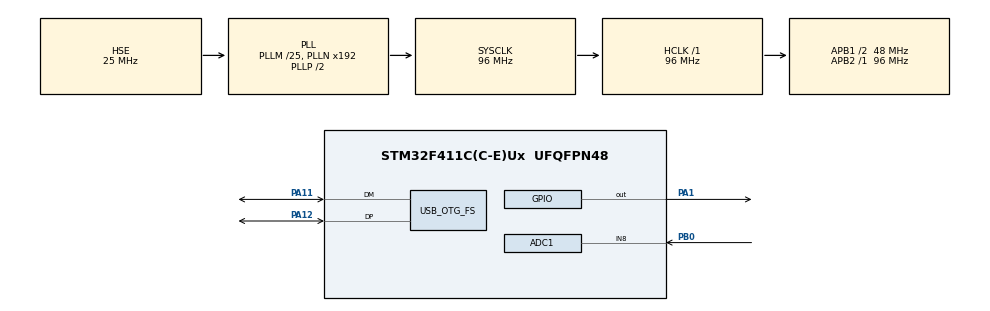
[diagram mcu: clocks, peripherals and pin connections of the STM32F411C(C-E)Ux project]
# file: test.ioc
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ADC1.Channel-3\#ChannelRegularConversion=ADC_CHANNEL_8
ADC1.NbrOfConversionFlag=1
ADC1.Rank-3\#ChannelRegularConversion=1
ADC1.SamplingTime-3\#ChannelRegularConversion=ADC_SAMPLETIME_3CYCLES
ADC1.master=1
Mcu.Family=STM32F4
Mcu.Name=STM32F411C(C-E)Ux
Mcu.Package=UFQFPN48
NVIC.OTG_FS_IRQn=true\:0\:0\:false\:false\:true\:false\:true\:true
NVIC.PriorityGroup=NVIC_PRIORITYGROUP_4
PA1.Signal=GPIO_Output
PA11.Mode=Device_Only
PA11.Signal=USB_OTG_FS_DM
PA12.Mode=Device_Only
PA12.Signal=USB_OTG_FS_DP
PA13.Mode=Serial_Wire
PA13.Signal=SYS_JTMS-SWDIO
PA14.Mode=Serial_Wire
PA14.Signal=SYS_JTCK-SWCLK
PB0.Signal=ADCx_IN8
PC14-OSC32_IN.Mode=LSE-External-Oscillator
PC14-OSC32_IN.Signal=RCC_OSC32_IN
PC15-OSC32_OUT.Mode=LSE-External-Oscillator
PC15-OSC32_OUT.Signal=RCC_OSC32_OUT
PH0\ -\ OSC_IN.Mode=HSE-External-Oscillator
PH0\ -\ OSC_IN.Signal=RCC_OSC_IN
PH1\ -\ OSC_OUT.Mode=HSE-External-Oscillator
PH1\ -\ OSC_OUT.Signal=RCC_OSC_OUT
ProjectManager.HeapSize=0x200
ProjectManager.StackSize=0x400
ProjectManager.TargetToolchain=STM32CubeIDE
RCC.48MHZClocksFreq_Value=48000000
RCC.AHBFreq_Value=96000000
RCC.APB1CLKDivider=RCC_HCLK_DIV2
RCC.APB1Freq_Value=48000000
RCC.APB1TimFreq_Value=96000000
RCC.APB2Freq_Value=96000000
RCC.APB2TimFreq_Value=96000000
RCC.CortexFreq_Value=96000000
RCC.HCLKFreq_Value=96000000
RCC.HSE_VALUE=25000000
RCC.HSI_VALUE=16000000
RCC.PLLM=25
RCC.SYSCLKFreq_VALUE=96000000
RCC.SYSCLKSource=RCC_SYSCLKSOURCE_PLLCLK
RCC.VCOOutputFreq_Value=192000000
SH.ADCx_IN8.0=ADC1_IN8,IN8
USB_DEVICE.CLASS_NAME_FS=CDC
USB_DEVICE.VirtualMode=Cdc
USB_DEVICE.VirtualModeFS=Cdc_FS
USB_OTG_FS.VirtualMode=Device_Only
VP_USB_DEVICE_VS_USB_DEVICE_CDC_FS.Mode=CDC_FS
board=custom

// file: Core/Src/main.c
/* USER CODE BEGIN Header */
/**
  ******************************************************************************
  * @file           : main.c
  * @brief          : Main program body
  ******************************************************************************
  */
/* USER CODE END Header */
#include "main.h"
#include "usb_device.h"
#include "stm32f4xx_hal_adc.h"
/* USER CODE BEGIN Includes */
#include "usbd_cdc_if.h"   // ← fixes CDC_Transmit_FS error
#include <string.h>         // ← for strlen
#include <stdio.h>

/* USER CODE END Includes */

ADC_HandleTypeDef hadc1;

void SystemClock_Config(void);
static void MX_GPIO_Init(void);
static void MX_ADC1_Init(void);

/* USER CODE BEGIN 0 */
/**
 * @brief  Microsecond delay function using the DWT cycle counter
 * @param  microseconds: Delay in microseconds
 */
void DWT_Delay_us(volatile uint32_t microseconds)
{
  uint32_t clk_cycle_start = DWT->CYCCNT;
  // Calculate total number of cycles required for the delay
  microseconds *= (HAL_RCC_GetHCLKFreq() / 1000000);
  // Wait until the cycles have passed
  while ((DWT->CYCCNT - clk_cycle_start) < microseconds);
}
/* USER CODE END 0 */

int main(void)
{

  /* MCU Configuration--------------------------------------------------------*/

  /* Reset of all peripherals, Initializes the Flash interface and the Systick. */
  HAL_Init();

  /* Configure the system clock */
  SystemClock_Config();

  /* Initialize all configured peripherals */
  MX_GPIO_Init();
  MX_USB_DEVICE_Init();
  MX_ADC1_Init();
  /* USER CODE BEGIN 2 */
  	CoreDebug->DEMCR |= CoreDebug_DEMCR_TRCENA_Msk;
    DWT->CYCCNT = 0;
    DWT->CTRL |= DWT_CTRL_CYCCNTENA_Msk;
  /* USER CODE END 2 */

  /* Infinite loop */
  /* USER CODE BEGIN WHILE */
  /* Infinite loop */
    /* USER CODE BEGIN WHILE */
    while (1)
    {
      /* USER CODE END WHILE */
      /* USER CODE BEGIN 3 */

      // 1. Turn IR TX ON
      HAL_GPIO_WritePin(GPIOA, GPIO_PIN_1, GPIO_PIN_SET);

      // 2. Wait 10µs to let the IR LED and photodiode settle
      DWT_Delay_us(10);

      // 3. Trigger and read the ADC while the IR is still ON
      HAL_ADC_Start(&hadc1);
      HAL_ADC_PollForConversion(&hadc1, 10);
      uint32_t adcValue = HAL_ADC_GetValue(&hadc1);
      HAL_ADC_Stop(&hadc1);

      // 4. Wait roughly the remaining 10µs to complete the 20µs ON time
      DWT_Delay_us(10);

      // 5. Turn IR TX OFF
      HAL_GPIO_WritePin(GPIOA, GPIO_PIN_1, GPIO_PIN_RESET);

      // 6. Transmit the captured ADC data over USB CDC
      char msg[32];
      snprintf(msg, sizeof(msg), "ADC: %lu\r\n", adcValue);
      CDC_Transmit_FS((uint8_t*)msg, strlen(msg));

      // 7. Wait 20 milliseconds with the IR sensor OFF
      HAL_Delay(20);
    }
      /* USER CODE END 3 */
    }

void SystemClock_Config(void)
{
  RCC_OscInitTypeDef RCC_OscInitStruct = {0};
  RCC_ClkInitTypeDef RCC_ClkInitStruct = {0};

  /** Configure the main internal regulator output voltage
  */
  __HAL_RCC_PWR_CLK_ENABLE();
  __HAL_PWR_VOLTAGESCALING_CONFIG(PWR_REGULATOR_VOLTAGE_SCALE1);

  /** Initializes the RCC Oscillators according to the specified parameters
  * in the RCC_OscInitTypeDef structure.
  */
  RCC_OscInitStruct.OscillatorType = RCC_OSCILLATORTYPE_HSE;
  RCC_OscInitStruct.HSEState = RCC_HSE_ON;
  RCC_OscInitStruct.PLL.PLLState = RCC_PLL_ON;
  RCC_OscInitStruct.PLL.PLLSource = RCC_PLLSOURCE_HSE;
  RCC_OscInitStruct.PLL.PLLM = 25;
  RCC_OscInitStruct.PLL.PLLN = 192;
  RCC_OscInitStruct.PLL.PLLP = RCC_PLLP_DIV2;
  RCC_OscInitStruct.PLL.PLLQ = 4;
  if (HAL_RCC_OscConfig(&RCC_OscInitStruct) != HAL_OK)
  {
    Error_Handler();
  }

  /** Initializes the CPU, AHB and APB buses clocks
  */
  RCC_ClkInitStruct.ClockType = RCC_CLOCKTYPE_HCLK|RCC_CLOCKTYPE_SYSCLK
                              |RCC_CLOCKTYPE_PCLK1|RCC_CLOCKTYPE_PCLK2;
  RCC_ClkInitStruct.SYSCLKSource = RCC_SYSCLKSOURCE_PLLCLK;
  RCC_ClkInitStruct.AHBCLKDivider = RCC_SYSCLK_DIV1;
  RCC_ClkInitStruct.APB1CLKDivider = RCC_HCLK_DIV2;
  RCC_ClkInitStruct.APB2CLKDivider = RCC_HCLK_DIV1;

  if (HAL_RCC_ClockConfig(&RCC_ClkInitStruct, FLASH_LATENCY_3) != HAL_OK)
  {
    Error_Handler();
  }
}

static void MX_ADC1_Init(void)
{

  ADC_ChannelConfTypeDef sConfig = {0};

  /** Configure the global features of the ADC (Clock, Resolution, Data Alignment and number of conversion)
  */
  hadc1.Instance = ADC1;
  hadc1.Init.ClockPrescaler = ADC_CLOCK_SYNC_PCLK_DIV4;
  hadc1.Init.Resolution = ADC_RESOLUTION_12B;
  hadc1.Init.ScanConvMode = DISABLE;
  hadc1.Init.ContinuousConvMode = DISABLE;
  hadc1.Init.DiscontinuousConvMode = DISABLE;
  hadc1.Init.ExternalTrigConvEdge = ADC_EXTERNALTRIGCONVEDGE_NONE;
  hadc1.Init.ExternalTrigConv = ADC_SOFTWARE_START;
  hadc1.Init.DataAlign = ADC_DATAALIGN_RIGHT;
  hadc1.Init.NbrOfConversion = 1;
  hadc1.Init.DMAContinuousRequests = DISABLE;
  hadc1.Init.EOCSelection = ADC_EOC_SINGLE_CONV;
  if (HAL_ADC_Init(&hadc1) != HAL_OK)
  {
    Error_Handler();
  }

  /** Configure for the selected ADC regular channel its corresponding rank in the sequencer and its sample time.
  */
  sConfig.Channel = ADC_CHANNEL_8;
  sConfig.Rank = 1;
  sConfig.SamplingTime = ADC_SAMPLETIME_3CYCLES;
  if (HAL_ADC_ConfigChannel(&hadc1, &sConfig) != HAL_OK)
  {
    Error_Handler();
  }

}

static void MX_GPIO_Init(void)
{
  GPIO_InitTypeDef GPIO_InitStruct = {0};

  /* GPIO Ports Clock Enable */
  __HAL_RCC_GPIOC_CLK_ENABLE();
  __HAL_RCC_GPIOH_CLK_ENABLE();
  __HAL_RCC_GPIOA_CLK_ENABLE();
  __HAL_RCC_GPIOB_CLK_ENABLE();

  /*Configure GPIO pin Output Level */
  HAL_GPIO_WritePin(GPIOA, GPIO_PIN_1, GPIO_PIN_RESET);

  /*Configure GPIO pin : PA1 */
  GPIO_InitStruct.Pin = GPIO_PIN_1;
  GPIO_InitStruct.Mode = GPIO_MODE_OUTPUT_PP;
  GPIO_InitStruct.Pull = GPIO_NOPULL;
  GPIO_InitStruct.Speed = GPIO_SPEED_FREQ_LOW;
  HAL_GPIO_Init(GPIOA, &GPIO_InitStruct);

}

void Error_Handler(void)
{
  __disable_irq();
  while (1)
  {
  }
}
